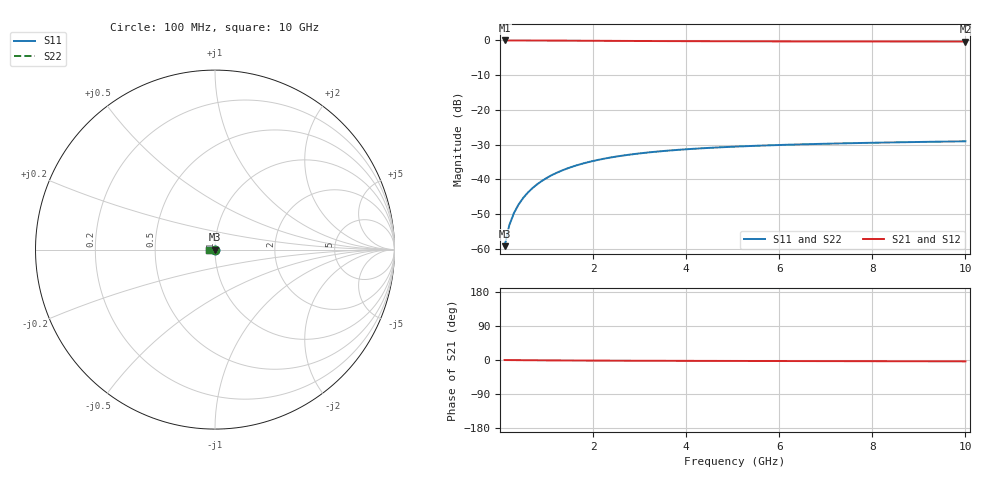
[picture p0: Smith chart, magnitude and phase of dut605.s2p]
! Touchstone file exported from HFSS 2024.1.0
!  File:  C:/UserFiles/LocalFiles/RDL_TSV_Batchsim/temp_TSV1_605_1779787790.aedt
!  Generated:  05:35:11 PM May 26, 2026
!  Design:  TSV1
!  Project:  temp_TSV1_605_1779787790
!  Setup:  Setup1
!  Solution:  Sweep
! Variables:
!  dtsv = 14.2um
!  hbump = 3um
!  htsv = 51.09um
!  lrdl = 252.1521522um
!  p = 40
!  p1 = 57.8um
!  t = 500um
!  trdl = 3um
!  wrdl = 24.89489489um
# GHz S MA R 50.000000
! Terminal data exported
! Port[1] = TSV22_T1
! Port[2] = TSV22_T2
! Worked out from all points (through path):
!   100 points, 100 MHz to 10 GHz, reference 50 ohm
!   highest |S21| = 0.00 dB at 100 MHz (marker M1); lowest = -0.3 dB at 10 GHz (marker M2)
!   lowest |S11| = -59.3 dB at 100 MHz (marker M3), VSWR 1.00, Z = 50 - j0.109 ohm
!   |S11| at or under -10 dB: start of sweep to end of sweep
!   |S22| runs from -59.3 to -29.1 dB; largest |S21 - S12| = 7e-15
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0.1  0.001089 -88.6  0.9999 -0.1  0.9999 -0.1  0.001089 -88.6
! Gamma 0 0 0 0
! Port Impedance 50 0 50 0
0.2  0.002175 -92.2  0.9998 -0.2  0.9998 -0.2  0.002175 -92.2
0.3  0.00326 -94.7  0.9996 -0.3  0.9996 -0.3  0.00326 -94.7
0.4  0.004338 -96.9  0.9993 -0.4  0.9993 -0.4  0.004338 -96.9
0.5  0.005402 -99.1  0.9989 -0.5  0.9989 -0.5  0.005402 -99.1
0.6  0.00645 -101.2  0.9985 -0.6  0.9985 -0.6  0.00645 -101.2
0.7  0.007479 -103.2  0.998 -0.7  0.998 -0.7  0.007479 -103.2
0.8  0.008485 -105.2  0.9975 -0.8  0.9975 -0.8  0.008485 -105.2
0.9  0.009466 -107.2  0.9969 -0.8  0.9969 -0.8  0.009466 -107.2
1.1  0.01135 -110.9  0.9957 -1.0  0.9957 -1.0  0.01135 -110.9
1.4  0.01395 -116.2  0.9936 -1.2  0.9936 -1.2  0.01395 -116.2
1.6  0.01554 -119.5  0.9921 -1.3  0.9921 -1.3  0.01554 -119.5
1.8  0.017 -122.7  0.9906 -1.5  0.9906 -1.5  0.017 -122.7
2.1  0.01898 -127.0  0.9883 -1.6  0.9883 -1.6  0.01898 -127.0
2.5  0.02126 -132.3  0.9855 -1.8  0.9855 -1.8  0.02126 -132.3
2.9  0.02318 -137.0  0.9828 -1.9  0.9828 -1.9  0.02318 -137.0
3.4  0.02516 -142.1  0.9799 -2.1  0.9799 -2.1  0.02516 -142.1
4.2  0.02761 -149.1  0.976 -2.3  0.976 -2.3  0.02761 -149.1
5.1  0.02965 -155.5  0.9726 -2.5  0.9726 -2.5  0.02965 -155.5
6.7  0.03216 -164.6  0.9684 -2.9  0.9684 -2.9  0.03216 -164.6
8.4  0.03397 -172.2  0.9655 -3.2  0.9655 -3.2  0.03397 -172.2
10  0.03527 -178.1  0.9637 -3.6  0.9637 -3.6  0.03527 -178.1
